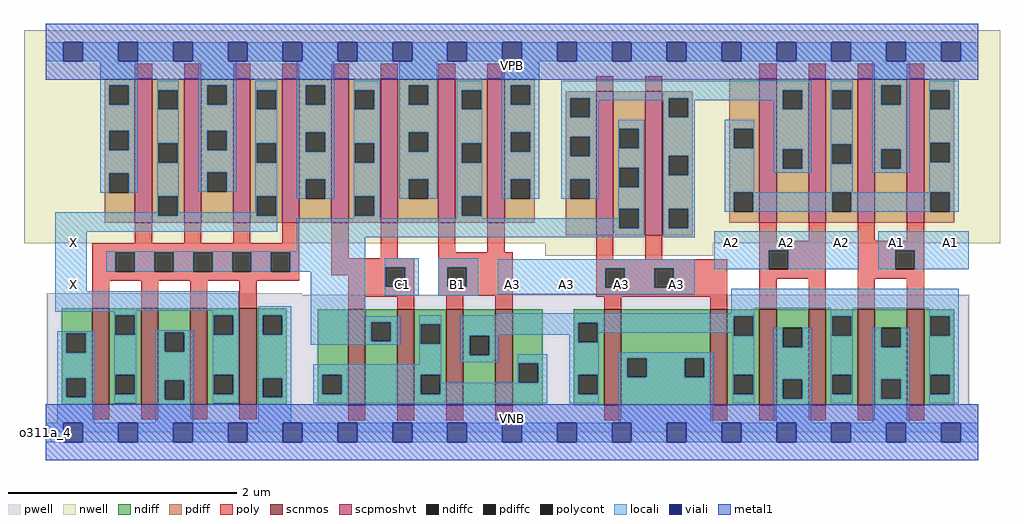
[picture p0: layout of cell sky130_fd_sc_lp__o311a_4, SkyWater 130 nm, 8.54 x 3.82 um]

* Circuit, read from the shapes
.subckt sky130_fd_sc_lp__o311a_4 A1 A2 A3 B1 C1 VGND VNB VPB VPWR X
XM1 X n1 VGND VNB sky130_fd_pr__nfet_01v8 w=0.84 l=0.15 m=4
XM2 n1 C1 n2 VNB sky130_fd_pr__nfet_01v8 w=0.84 l=0.15 m=2
XM3 n3 B1 n2 VNB sky130_fd_pr__nfet_01v8 w=0.84 l=0.15 m=2
XM4 VGND A3 n3 VNB sky130_fd_pr__nfet_01v8 w=0.84 l=0.15 m=2
XM5 VGND A2 n3 VNB sky130_fd_pr__nfet_01v8 w=0.84 l=0.15 m=2
XM6 VGND A1 n3 VNB sky130_fd_pr__nfet_01v8 w=0.84 l=0.15 m=2
XM7 X n1 VPWR VPB sky130_fd_pr__pfet_01v8_hvt w=1.26 l=0.15 m=4
XM8 n1 C1 VPWR VPB sky130_fd_pr__pfet_01v8_hvt w=1.26 l=0.15 m=2
XM9 n1 B1 VPWR VPB sky130_fd_pr__pfet_01v8_hvt w=1.26 l=0.15 m=2
XM10 n1 A3 n4 VPB sky130_fd_pr__pfet_01v8_hvt w=1.26 l=0.15 m=2
XM11 n4 A2 n5 VPB sky130_fd_pr__pfet_01v8_hvt w=1.26 l=0.15 m=2
XM12 VPWR A1 n5 VPB sky130_fd_pr__pfet_01v8_hvt w=1.26 l=0.15 m=2
.ends

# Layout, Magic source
magic
tech sky130A
magscale 1 2
<< nwell >>
rect -38 331 1670 704
rect 874 309 1168 331
<< pwell >>
rect 2 241 448 243
rect 2 49 1616 241
rect 0 0 1632 49
<< scnmos >>
rect 81 49 111 217
rect 167 49 197 217
rect 253 49 283 217
rect 339 49 369 217
rect 529 47 559 215
rect 615 47 645 215
rect 701 47 731 215
rect 787 47 817 215
rect 977 47 1007 215
rect 1163 47 1193 215
rect 1249 47 1279 215
rect 1335 47 1365 215
rect 1421 47 1451 215
rect 1507 47 1537 215
<< scpmoshvt >>
rect 156 367 186 619
rect 242 367 272 619
rect 328 367 358 619
rect 414 367 444 619
rect 500 367 530 619
rect 586 367 616 619
rect 687 367 717 619
rect 773 367 803 619
rect 963 345 993 597
rect 1049 345 1079 597
rect 1249 367 1279 619
rect 1335 367 1365 619
rect 1421 367 1451 619
rect 1507 367 1537 619
<< ndiff >>
rect 28 173 81 217
rect 28 139 36 173
rect 70 139 81 173
rect 28 95 81 139
rect 28 61 36 95
rect 70 61 81 95
rect 28 49 81 61
rect 111 205 167 217
rect 111 171 122 205
rect 156 171 167 205
rect 111 101 167 171
rect 111 67 122 101
rect 156 67 167 101
rect 111 49 167 67
rect 197 175 253 217
rect 197 141 208 175
rect 242 141 253 175
rect 197 91 253 141
rect 197 57 208 91
rect 242 57 253 91
rect 197 49 253 57
rect 283 205 339 217
rect 283 171 294 205
rect 328 171 339 205
rect 283 101 339 171
rect 283 67 294 101
rect 328 67 339 101
rect 283 49 339 67
rect 369 205 422 217
rect 369 171 380 205
rect 414 171 422 205
rect 369 95 422 171
rect 369 61 380 95
rect 414 61 422 95
rect 369 49 422 61
rect 476 101 529 215
rect 476 67 484 101
rect 518 67 529 101
rect 476 47 529 67
rect 559 193 615 215
rect 559 159 570 193
rect 604 159 615 193
rect 559 47 615 159
rect 645 189 701 215
rect 645 155 656 189
rect 690 155 701 189
rect 645 101 701 155
rect 645 67 656 101
rect 690 67 701 101
rect 645 47 701 67
rect 731 169 787 215
rect 731 135 742 169
rect 776 135 787 169
rect 731 47 787 135
rect 817 121 870 215
rect 817 87 828 121
rect 862 87 870 121
rect 817 47 870 87
rect 924 192 977 215
rect 924 158 932 192
rect 966 158 977 192
rect 924 101 977 158
rect 924 67 932 101
rect 966 67 977 101
rect 924 47 977 67
rect 1007 130 1163 215
rect 1007 96 1018 130
rect 1052 96 1118 130
rect 1152 96 1163 130
rect 1007 47 1163 96
rect 1193 203 1249 215
rect 1193 169 1204 203
rect 1238 169 1249 203
rect 1193 101 1249 169
rect 1193 67 1204 101
rect 1238 67 1249 101
rect 1193 47 1249 67
rect 1279 183 1335 215
rect 1279 149 1290 183
rect 1324 149 1335 183
rect 1279 93 1335 149
rect 1279 59 1290 93
rect 1324 59 1335 93
rect 1279 47 1335 59
rect 1365 203 1421 215
rect 1365 169 1376 203
rect 1410 169 1421 203
rect 1365 101 1421 169
rect 1365 67 1376 101
rect 1410 67 1421 101
rect 1365 47 1421 67
rect 1451 183 1507 215
rect 1451 149 1462 183
rect 1496 149 1507 183
rect 1451 93 1507 149
rect 1451 59 1462 93
rect 1496 59 1507 93
rect 1451 47 1507 59
rect 1537 203 1590 215
rect 1537 169 1548 203
rect 1582 169 1590 203
rect 1537 101 1590 169
rect 1537 67 1548 101
rect 1582 67 1590 101
rect 1537 47 1590 67
<< pdiff >>
rect 103 607 156 619
rect 103 573 111 607
rect 145 573 156 607
rect 103 528 156 573
rect 103 494 111 528
rect 145 494 156 528
rect 103 453 156 494
rect 103 419 111 453
rect 145 419 156 453
rect 103 367 156 419
rect 186 599 242 619
rect 186 565 197 599
rect 231 565 242 599
rect 186 506 242 565
rect 186 472 197 506
rect 231 472 242 506
rect 186 413 242 472
rect 186 379 197 413
rect 231 379 242 413
rect 186 367 242 379
rect 272 607 328 619
rect 272 573 283 607
rect 317 573 328 607
rect 272 528 328 573
rect 272 494 283 528
rect 317 494 328 528
rect 272 455 328 494
rect 272 421 283 455
rect 317 421 328 455
rect 272 367 328 421
rect 358 599 414 619
rect 358 565 369 599
rect 403 565 414 599
rect 358 506 414 565
rect 358 472 369 506
rect 403 472 414 506
rect 358 413 414 472
rect 358 379 369 413
rect 403 379 414 413
rect 358 367 414 379
rect 444 607 500 619
rect 444 573 455 607
rect 489 573 500 607
rect 444 525 500 573
rect 444 491 455 525
rect 489 491 500 525
rect 444 443 500 491
rect 444 409 455 443
rect 489 409 500 443
rect 444 367 500 409
rect 530 599 586 619
rect 530 565 541 599
rect 575 565 586 599
rect 530 506 586 565
rect 530 472 541 506
rect 575 472 586 506
rect 530 413 586 472
rect 530 379 541 413
rect 575 379 586 413
rect 530 367 586 379
rect 616 607 687 619
rect 616 573 635 607
rect 669 573 687 607
rect 616 525 687 573
rect 616 491 635 525
rect 669 491 687 525
rect 616 443 687 491
rect 616 409 635 443
rect 669 409 687 443
rect 616 367 687 409
rect 717 599 773 619
rect 717 565 728 599
rect 762 565 773 599
rect 717 506 773 565
rect 717 472 728 506
rect 762 472 773 506
rect 717 413 773 472
rect 717 379 728 413
rect 762 379 773 413
rect 717 367 773 379
rect 803 607 856 619
rect 803 573 814 607
rect 848 573 856 607
rect 803 525 856 573
rect 803 491 814 525
rect 848 491 856 525
rect 803 443 856 491
rect 803 409 814 443
rect 848 409 856 443
rect 803 367 856 409
rect 910 585 963 597
rect 910 551 918 585
rect 952 551 963 585
rect 910 517 963 551
rect 910 483 918 517
rect 952 483 963 517
rect 910 443 963 483
rect 910 409 918 443
rect 952 409 963 443
rect 910 345 963 409
rect 993 531 1049 597
rect 993 497 1004 531
rect 1038 497 1049 531
rect 993 463 1049 497
rect 993 429 1004 463
rect 1038 429 1049 463
rect 993 391 1049 429
rect 993 357 1004 391
rect 1038 357 1049 391
rect 993 345 1049 357
rect 1079 585 1132 597
rect 1079 551 1090 585
rect 1124 551 1132 585
rect 1079 484 1132 551
rect 1079 450 1090 484
rect 1124 450 1132 484
rect 1079 391 1132 450
rect 1079 357 1090 391
rect 1124 357 1132 391
rect 1196 531 1249 619
rect 1196 497 1204 531
rect 1238 497 1249 531
rect 1196 420 1249 497
rect 1196 386 1204 420
rect 1238 386 1249 420
rect 1196 367 1249 386
rect 1279 599 1335 619
rect 1279 565 1290 599
rect 1324 565 1335 599
rect 1279 495 1335 565
rect 1279 461 1290 495
rect 1324 461 1335 495
rect 1279 367 1335 461
rect 1365 599 1421 619
rect 1365 565 1376 599
rect 1410 565 1421 599
rect 1365 504 1421 565
rect 1365 470 1376 504
rect 1410 470 1421 504
rect 1365 420 1421 470
rect 1365 386 1376 420
rect 1410 386 1421 420
rect 1365 367 1421 386
rect 1451 607 1507 619
rect 1451 573 1462 607
rect 1496 573 1507 607
rect 1451 495 1507 573
rect 1451 461 1462 495
rect 1496 461 1507 495
rect 1451 367 1507 461
rect 1537 599 1590 619
rect 1537 565 1548 599
rect 1582 565 1590 599
rect 1537 507 1590 565
rect 1537 473 1548 507
rect 1582 473 1590 507
rect 1537 420 1590 473
rect 1537 386 1548 420
rect 1582 386 1590 420
rect 1537 367 1590 386
rect 1079 345 1132 357
<< ndiffc >>
rect 36 139 70 173
rect 36 61 70 95
rect 122 171 156 205
rect 122 67 156 101
rect 208 141 242 175
rect 208 57 242 91
rect 294 171 328 205
rect 294 67 328 101
rect 380 171 414 205
rect 380 61 414 95
rect 484 67 518 101
rect 570 159 604 193
rect 656 155 690 189
rect 656 67 690 101
rect 742 135 776 169
rect 828 87 862 121
rect 932 158 966 192
rect 932 67 966 101
rect 1018 96 1052 130
rect 1118 96 1152 130
rect 1204 169 1238 203
rect 1204 67 1238 101
rect 1290 149 1324 183
rect 1290 59 1324 93
rect 1376 169 1410 203
rect 1376 67 1410 101
rect 1462 149 1496 183
rect 1462 59 1496 93
rect 1548 169 1582 203
rect 1548 67 1582 101
<< pdiffc >>
rect 111 573 145 607
rect 111 494 145 528
rect 111 419 145 453
rect 197 565 231 599
rect 197 472 231 506
rect 197 379 231 413
rect 283 573 317 607
rect 283 494 317 528
rect 283 421 317 455
rect 369 565 403 599
rect 369 472 403 506
rect 369 379 403 413
rect 455 573 489 607
rect 455 491 489 525
rect 455 409 489 443
rect 541 565 575 599
rect 541 472 575 506
rect 541 379 575 413
rect 635 573 669 607
rect 635 491 669 525
rect 635 409 669 443
rect 728 565 762 599
rect 728 472 762 506
rect 728 379 762 413
rect 814 573 848 607
rect 814 491 848 525
rect 814 409 848 443
rect 918 551 952 585
rect 918 483 952 517
rect 918 409 952 443
rect 1004 497 1038 531
rect 1004 429 1038 463
rect 1004 357 1038 391
rect 1090 551 1124 585
rect 1090 450 1124 484
rect 1090 357 1124 391
rect 1204 497 1238 531
rect 1204 386 1238 420
rect 1290 565 1324 599
rect 1290 461 1324 495
rect 1376 565 1410 599
rect 1376 470 1410 504
rect 1376 386 1410 420
rect 1462 573 1496 607
rect 1462 461 1496 495
rect 1548 565 1582 599
rect 1548 473 1582 507
rect 1548 386 1582 420
<< poly >>
rect 156 619 186 645
rect 242 619 272 645
rect 328 619 358 645
rect 414 619 444 645
rect 500 619 530 645
rect 586 619 616 645
rect 687 619 717 645
rect 773 619 803 645
rect 963 597 993 623
rect 1049 597 1079 623
rect 1249 619 1279 645
rect 1335 619 1365 645
rect 1421 619 1451 645
rect 1507 619 1537 645
rect 156 331 186 367
rect 242 331 272 367
rect 328 331 358 367
rect 414 331 444 367
rect 81 315 444 331
rect 81 281 122 315
rect 156 281 190 315
rect 224 281 258 315
rect 292 281 326 315
rect 360 281 394 315
rect 428 281 444 315
rect 81 265 444 281
rect 500 305 530 367
rect 586 305 616 367
rect 687 315 717 367
rect 773 315 803 367
rect 500 289 645 305
rect 500 275 595 289
rect 81 217 111 265
rect 167 217 197 265
rect 253 217 283 265
rect 339 217 369 265
rect 529 255 595 275
rect 629 255 645 289
rect 529 237 645 255
rect 687 289 817 315
rect 687 255 703 289
rect 737 255 817 289
rect 687 239 817 255
rect 529 215 559 237
rect 615 215 645 237
rect 701 215 731 239
rect 787 215 817 239
rect 963 303 993 345
rect 1049 303 1079 345
rect 1249 335 1279 367
rect 1335 335 1365 367
rect 1249 319 1365 335
rect 963 287 1193 303
rect 963 253 979 287
rect 1013 253 1065 287
rect 1099 253 1193 287
rect 963 237 1193 253
rect 977 215 1007 237
rect 1163 215 1193 237
rect 1249 285 1265 319
rect 1299 285 1365 319
rect 1249 269 1365 285
rect 1249 215 1279 269
rect 1335 215 1365 269
rect 1421 335 1451 367
rect 1507 335 1537 367
rect 1421 319 1537 335
rect 1421 285 1487 319
rect 1521 285 1537 319
rect 1421 269 1537 285
rect 1421 215 1451 269
rect 1507 215 1537 269
rect 81 23 111 49
rect 167 23 197 49
rect 253 23 283 49
rect 339 23 369 49
rect 529 21 559 47
rect 615 21 645 47
rect 701 21 731 47
rect 787 21 817 47
rect 977 21 1007 47
rect 1163 21 1193 47
rect 1249 21 1279 47
rect 1335 21 1365 47
rect 1421 21 1451 47
rect 1507 21 1537 47
<< polycont >>
rect 122 281 156 315
rect 190 281 224 315
rect 258 281 292 315
rect 326 281 360 315
rect 394 281 428 315
rect 595 255 629 289
rect 703 255 737 289
rect 979 253 1013 287
rect 1065 253 1099 287
rect 1265 285 1299 319
rect 1487 285 1521 319
<< locali >>
rect 0 649 31 683
rect 65 649 127 683
rect 161 649 223 683
rect 257 649 319 683
rect 353 649 415 683
rect 449 649 511 683
rect 545 649 607 683
rect 641 649 703 683
rect 737 649 799 683
rect 833 649 895 683
rect 929 649 991 683
rect 1025 649 1087 683
rect 1121 649 1183 683
rect 1217 649 1279 683
rect 1313 649 1375 683
rect 1409 649 1471 683
rect 1505 649 1567 683
rect 1601 649 1632 683
rect 95 607 161 649
rect 95 573 111 607
rect 145 573 161 607
rect 95 528 161 573
rect 95 494 111 528
rect 145 494 161 528
rect 95 453 161 494
rect 95 419 111 453
rect 145 419 161 453
rect 195 599 233 615
rect 195 565 197 599
rect 231 565 233 599
rect 195 506 233 565
rect 195 472 197 506
rect 231 472 233 506
rect 195 413 233 472
rect 267 607 333 649
rect 267 573 283 607
rect 317 573 333 607
rect 267 528 333 573
rect 267 494 283 528
rect 317 494 333 528
rect 267 455 333 494
rect 267 421 283 455
rect 317 421 333 455
rect 367 599 405 615
rect 367 565 369 599
rect 403 565 405 599
rect 367 506 405 565
rect 367 472 369 506
rect 403 472 405 506
rect 195 385 197 413
rect 17 379 197 385
rect 231 385 233 413
rect 367 413 405 472
rect 367 385 369 413
rect 231 379 369 385
rect 403 379 405 413
rect 439 607 505 649
rect 439 573 455 607
rect 489 573 505 607
rect 439 525 505 573
rect 439 491 455 525
rect 489 491 505 525
rect 439 443 505 491
rect 439 409 455 443
rect 489 409 505 443
rect 539 599 585 615
rect 539 565 541 599
rect 575 565 585 599
rect 539 506 585 565
rect 539 472 541 506
rect 575 472 585 506
rect 539 413 585 472
rect 17 351 405 379
rect 539 379 541 413
rect 575 379 585 413
rect 619 607 685 649
rect 619 573 635 607
rect 669 573 685 607
rect 619 525 685 573
rect 619 491 635 525
rect 669 491 685 525
rect 619 443 685 491
rect 619 409 635 443
rect 669 409 685 443
rect 719 599 764 615
rect 719 565 728 599
rect 762 565 764 599
rect 719 506 764 565
rect 719 472 728 506
rect 762 472 764 506
rect 719 413 764 472
rect 539 375 585 379
rect 719 379 728 413
rect 762 379 764 413
rect 798 607 864 649
rect 798 573 814 607
rect 848 573 864 607
rect 798 525 864 573
rect 798 491 814 525
rect 848 491 864 525
rect 798 443 864 491
rect 798 409 814 443
rect 848 409 864 443
rect 902 599 1340 615
rect 902 585 1290 599
rect 902 551 918 585
rect 952 581 1090 585
rect 952 551 968 581
rect 902 517 968 551
rect 1081 551 1090 581
rect 1124 581 1290 585
rect 1124 551 1136 581
rect 902 483 918 517
rect 952 483 968 517
rect 902 443 968 483
rect 902 409 918 443
rect 952 409 968 443
rect 1002 531 1047 547
rect 1002 497 1004 531
rect 1038 497 1047 531
rect 1002 463 1047 497
rect 1002 429 1004 463
rect 1038 429 1047 463
rect 719 375 764 379
rect 1002 391 1047 429
rect 1002 375 1004 391
rect 439 357 1004 375
rect 1038 357 1047 391
rect 17 247 72 351
rect 439 341 1047 357
rect 1081 484 1136 551
rect 1274 565 1290 581
rect 1324 565 1340 599
rect 1081 450 1090 484
rect 1124 450 1136 484
rect 1081 391 1136 450
rect 1081 357 1090 391
rect 1124 357 1136 391
rect 1188 531 1240 547
rect 1188 497 1204 531
rect 1238 497 1240 531
rect 1188 420 1240 497
rect 1274 495 1340 565
rect 1274 461 1290 495
rect 1324 461 1340 495
rect 1274 454 1340 461
rect 1374 599 1412 615
rect 1374 565 1376 599
rect 1410 565 1412 599
rect 1374 504 1412 565
rect 1374 470 1376 504
rect 1410 470 1412 504
rect 1374 420 1412 470
rect 1446 607 1512 649
rect 1446 573 1462 607
rect 1496 573 1512 607
rect 1446 495 1512 573
rect 1446 461 1462 495
rect 1496 461 1512 495
rect 1446 454 1512 461
rect 1546 599 1598 615
rect 1546 565 1548 599
rect 1582 565 1598 599
rect 1546 507 1598 565
rect 1546 473 1548 507
rect 1582 473 1598 507
rect 1546 420 1598 473
rect 1188 386 1204 420
rect 1238 386 1376 420
rect 1410 386 1548 420
rect 1582 386 1598 420
rect 1081 341 1136 357
rect 439 317 559 341
rect 106 315 559 317
rect 106 281 122 315
rect 156 281 190 315
rect 224 281 258 315
rect 292 281 326 315
rect 360 281 394 315
rect 428 281 559 315
rect 1170 319 1423 352
rect 17 213 338 247
rect 17 211 158 213
rect 120 205 158 211
rect 20 173 86 177
rect 20 139 36 173
rect 70 139 86 173
rect 20 95 86 139
rect 20 61 36 95
rect 70 61 86 95
rect 20 17 86 61
rect 120 171 122 205
rect 156 171 158 205
rect 292 205 338 213
rect 120 101 158 171
rect 120 67 122 101
rect 156 67 158 101
rect 120 51 158 67
rect 192 175 258 179
rect 192 141 208 175
rect 242 141 258 175
rect 192 91 258 141
rect 192 57 208 91
rect 242 57 258 91
rect 192 17 258 57
rect 292 171 294 205
rect 328 171 338 205
rect 292 101 338 171
rect 292 67 294 101
rect 328 67 338 101
rect 292 51 338 67
rect 372 205 430 221
rect 372 171 380 205
rect 414 171 430 205
rect 372 95 430 171
rect 464 203 559 281
rect 593 289 653 305
rect 593 255 595 289
rect 629 255 653 289
rect 593 239 653 255
rect 687 289 757 305
rect 687 255 703 289
rect 737 255 757 289
rect 687 239 757 255
rect 791 287 1136 303
rect 791 253 979 287
rect 1013 253 1065 287
rect 1099 253 1136 287
rect 1170 285 1265 319
rect 1299 285 1423 319
rect 1457 319 1615 352
rect 1457 285 1487 319
rect 1521 285 1615 319
rect 791 242 1136 253
rect 1200 217 1598 251
rect 1200 208 1240 217
rect 791 205 1240 208
rect 464 193 620 203
rect 464 159 570 193
rect 604 159 620 193
rect 464 153 620 159
rect 654 189 692 205
rect 654 155 656 189
rect 690 155 692 189
rect 654 119 692 155
rect 726 203 1240 205
rect 726 192 1204 203
rect 726 171 932 192
rect 726 169 792 171
rect 726 135 742 169
rect 776 135 792 169
rect 916 158 932 171
rect 966 174 1204 192
rect 966 158 968 174
rect 726 123 792 135
rect 372 61 380 95
rect 414 61 430 95
rect 372 17 430 61
rect 468 101 692 119
rect 468 67 484 101
rect 518 67 656 101
rect 690 87 692 101
rect 826 121 878 137
rect 826 87 828 121
rect 862 87 878 121
rect 690 67 878 87
rect 468 51 878 67
rect 916 101 968 158
rect 1202 169 1204 174
rect 1238 169 1240 203
rect 1374 203 1412 217
rect 916 67 932 101
rect 966 67 968 101
rect 916 51 968 67
rect 1002 130 1168 140
rect 1002 96 1018 130
rect 1052 96 1118 130
rect 1152 96 1168 130
rect 1002 17 1168 96
rect 1202 101 1240 169
rect 1202 67 1204 101
rect 1238 67 1240 101
rect 1202 51 1240 67
rect 1274 149 1290 183
rect 1324 149 1340 183
rect 1274 93 1340 149
rect 1274 59 1290 93
rect 1324 59 1340 93
rect 1274 17 1340 59
rect 1374 169 1376 203
rect 1410 169 1412 203
rect 1546 203 1598 217
rect 1374 101 1412 169
rect 1374 67 1376 101
rect 1410 67 1412 101
rect 1374 51 1412 67
rect 1446 149 1462 183
rect 1496 149 1512 183
rect 1446 93 1512 149
rect 1446 59 1462 93
rect 1496 59 1512 93
rect 1446 17 1512 59
rect 1546 169 1548 203
rect 1582 169 1598 203
rect 1546 101 1598 169
rect 1546 67 1548 101
rect 1582 67 1598 101
rect 1546 51 1598 67
rect 0 -17 31 17
rect 65 -17 127 17
rect 161 -17 223 17
rect 257 -17 319 17
rect 353 -17 415 17
rect 449 -17 511 17
rect 545 -17 607 17
rect 641 -17 703 17
rect 737 -17 799 17
rect 833 -17 895 17
rect 929 -17 991 17
rect 1025 -17 1087 17
rect 1121 -17 1183 17
rect 1217 -17 1279 17
rect 1313 -17 1375 17
rect 1409 -17 1471 17
rect 1505 -17 1567 17
rect 1601 -17 1632 17
<< viali >>
rect 31 649 65 683
rect 127 649 161 683
rect 223 649 257 683
rect 319 649 353 683
rect 415 649 449 683
rect 511 649 545 683
rect 607 649 641 683
rect 703 649 737 683
rect 799 649 833 683
rect 895 649 929 683
rect 991 649 1025 683
rect 1087 649 1121 683
rect 1183 649 1217 683
rect 1279 649 1313 683
rect 1375 649 1409 683
rect 1471 649 1505 683
rect 1567 649 1601 683
rect 31 -17 65 17
rect 127 -17 161 17
rect 223 -17 257 17
rect 319 -17 353 17
rect 415 -17 449 17
rect 511 -17 545 17
rect 607 -17 641 17
rect 703 -17 737 17
rect 799 -17 833 17
rect 895 -17 929 17
rect 991 -17 1025 17
rect 1087 -17 1121 17
rect 1183 -17 1217 17
rect 1279 -17 1313 17
rect 1375 -17 1409 17
rect 1471 -17 1505 17
rect 1567 -17 1601 17
<< metal1 >>
rect 0 683 1632 715
rect 0 649 31 683
rect 65 649 127 683
rect 161 649 223 683
rect 257 649 319 683
rect 353 649 415 683
rect 449 649 511 683
rect 545 649 607 683
rect 641 649 703 683
rect 737 649 799 683
rect 833 649 895 683
rect 929 649 991 683
rect 1025 649 1087 683
rect 1121 649 1183 683
rect 1217 649 1279 683
rect 1313 649 1375 683
rect 1409 649 1471 683
rect 1505 649 1567 683
rect 1601 649 1632 683
rect 0 617 1632 649
rect 0 17 1632 49
rect 0 -17 31 17
rect 65 -17 127 17
rect 161 -17 223 17
rect 257 -17 319 17
rect 353 -17 415 17
rect 449 -17 511 17
rect 545 -17 607 17
rect 641 -17 703 17
rect 737 -17 799 17
rect 833 -17 895 17
rect 929 -17 991 17
rect 1025 -17 1087 17
rect 1121 -17 1183 17
rect 1217 -17 1279 17
rect 1313 -17 1375 17
rect 1409 -17 1471 17
rect 1505 -17 1567 17
rect 1601 -17 1632 17
rect 0 -49 1632 -17
<< labels >>
flabel pwell s 0 0 1632 49 0 FreeSans 200 0 0 0 VNB
port 7 nsew ground bidirectional
flabel nwell s 0 617 1632 666 0 FreeSans 200 0 0 0 VPB
port 8 nsew power bidirectional
rlabel comment s 0 0 0 0 4 o311a_4
flabel metal1 s 0 617 1632 666 0 FreeSans 340 0 0 0 VPWR
port 9 nsew power bidirectional
flabel metal1 s 0 0 1632 49 0 FreeSans 340 0 0 0 VGND
port 6 nsew ground bidirectional
flabel locali s 1471 316 1505 350 0 FreeSans 340 0 0 0 A1
port 1 nsew signal input
flabel locali s 1567 316 1601 350 0 FreeSans 340 0 0 0 A1
port 1 nsew signal input
flabel locali s 1183 316 1217 350 0 FreeSans 340 0 0 0 A2
port 2 nsew signal input
flabel locali s 1279 316 1313 350 0 FreeSans 340 0 0 0 A2
port 2 nsew signal input
flabel locali s 1375 316 1409 350 0 FreeSans 340 0 0 0 A2
port 2 nsew signal input
flabel locali s 799 242 833 276 0 FreeSans 340 0 0 0 A3
port 3 nsew signal input
flabel locali s 895 242 929 276 0 FreeSans 340 0 0 0 A3
port 3 nsew signal input
flabel locali s 991 242 1025 276 0 FreeSans 340 0 0 0 A3
port 3 nsew signal input
flabel locali s 1087 242 1121 276 0 FreeSans 340 0 0 0 A3
port 3 nsew signal input
flabel locali s 703 242 737 276 0 FreeSans 340 0 0 0 B1
port 4 nsew signal input
flabel locali s 607 242 641 276 0 FreeSans 340 0 0 0 C1
port 5 nsew signal input
flabel locali s 31 242 65 276 0 FreeSans 340 0 0 0 X
port 10 nsew signal output
flabel locali s 31 316 65 350 0 FreeSans 340 0 0 0 X
port 10 nsew signal output
<< properties >>
string LEFsite unit
string LEFclass CORE
string FIXED_BBOX 0 0 1632 666
string GDS_FILE $PDKPATH/libs.ref/sky130_fd_sc_lp/gds/sky130_fd_sc_lp.gds
string LEFsymmetry X Y R90
string GDS_END 4392476
string GDS_START 4378248
<< end >>
